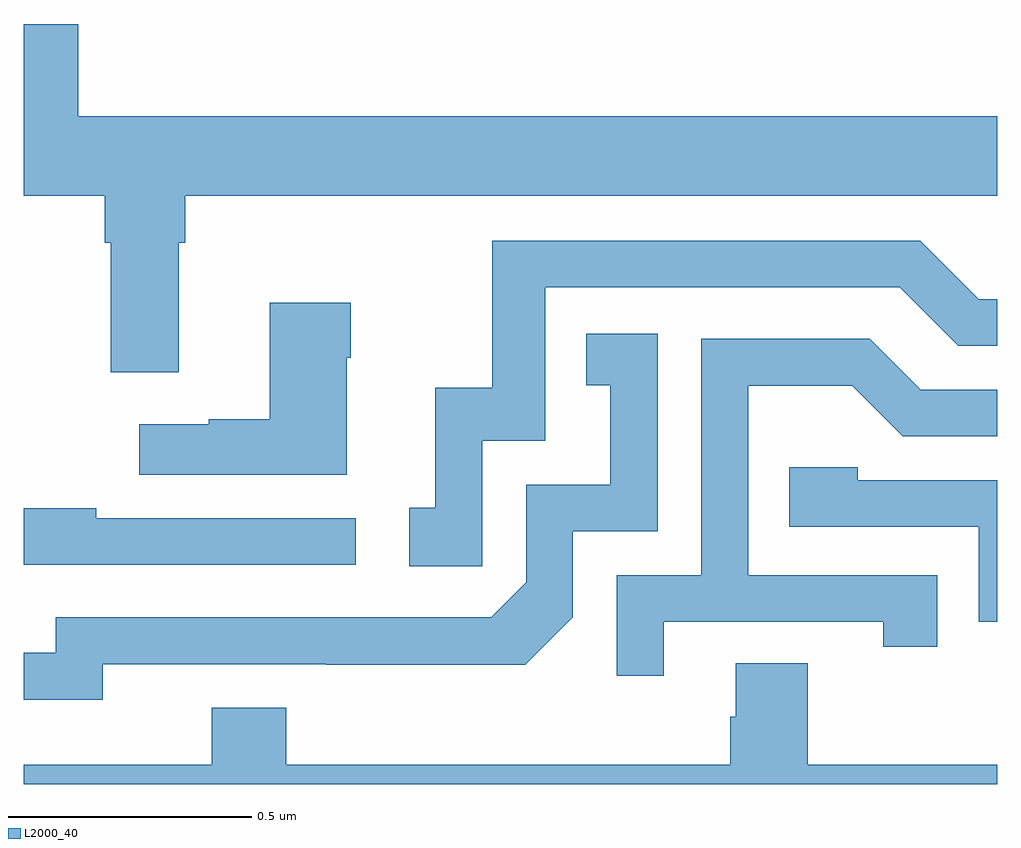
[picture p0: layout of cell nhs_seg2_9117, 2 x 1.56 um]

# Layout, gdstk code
import gdstk
lib = gdstk.Library(unit=1e-6, precision=1e-09)
def P(c, l, *ps):  # polygons
    for p in ps: c.add(gdstk.Polygon(p, *l))
L2000_40 = (2000, 40)

nhs_seg2_9117 = lib.new_cell('nhs_seg2_9117')
P(nhs_seg2_9117, L2000_40, [(225.319,608.912),(225.332,608.912),(225.332,609.008),(227,609.008),(227,609.172),(225.112,609.172),(225.112,609.361),(225,609.361),(225,609.008),(225.167,609.008),(225.167,608.912),(225.179,608.912),(225.179,608.646),(225.319,608.646)],
  [(225.942,608.505),(226.071,608.505),(226.071,608.82),(226.8,608.82),(226.92,608.7),(227,608.7),(227,608.796),(226.962,608.796),(226.842,608.916),(225.963,608.916),(225.963,608.614),(225.845,608.614),(225.845,608.367),(225.792,608.367),(225.792,608.247),(225.942,608.247)],
  [(225.664,608.675),(225.672,608.675),(225.672,608.788),(225.506,608.788),(225.506,608.549),(225.38,608.549),(225.38,608.539),(225.237,608.539),(225.237,608.435),(225.664,608.435)],
  [(225.162,608.046),(225.622,608.046),(225.622,608.045),(226.03,608.045),(226.128,608.142),(226.128,608.319),(226.302,608.319),(226.302,608.725),(226.156,608.725),(226.156,608.619),(226.205,608.619),(226.205,608.415),(226.032,608.415),(226.032,608.214),(225.96,608.142),(225.066,608.142),(225.066,608.07),(225,608.07),(225,607.973),(225.162,607.973)],
  [(226.315,608.133),(226.766,608.133),(226.766,608.082),(226.877,608.082),(226.877,608.229),(226.488,608.229),(226.488,608.618),(226.702,608.618),(226.806,608.514),(227,608.514),(227,608.61),(226.843,608.61),(226.738,608.715),(226.392,608.715),(226.392,608.229),(226.218,608.229),(226.218,608.022),(226.315,608.022)],
  [(227,608.424),(226.713,608.424),(226.713,608.451),(226.573,608.451),(226.573,608.328),(226.962,608.328),(226.962,608.133),(227,608.133)],
  [(225.682,608.346),(225.149,608.346),(225.149,608.366),(225,608.366),(225,608.25),(225.682,608.25)],
  [(227,607.84),(226.611,607.84),(226.611,608.048),(226.463,608.048),(226.463,607.938),(226.451,607.938),(226.451,607.84),(225.539,607.84),(225.539,607.957),(225.386,607.957),(225.386,607.84),(225,607.84),(225,607.8),(227,607.8)])

lib.write_gds('nhs_seg2_9117.gds')
